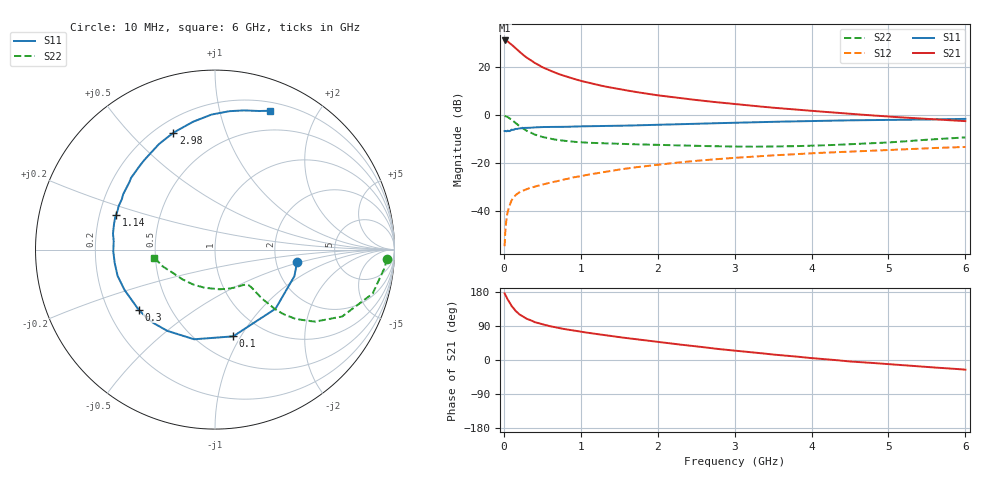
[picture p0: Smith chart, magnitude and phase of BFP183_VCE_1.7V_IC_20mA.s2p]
! Infineon Technologies  Discrete & RF Semiconductors
! BFP183
! VCE = 1.7 V,  IC =  20 mA
! Common Emitter S-Parameters:  Jan 2016
# GHz  S  MA  R  50
!  f  S11  S21  S12  S22
! GHz  MAG  ANG  MAG  ANG  MAG  ANG  MAG  ANG
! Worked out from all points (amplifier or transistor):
!   210 points, 10 MHz to 6 GHz, reference 50 ohm
!   highest |S21| = 31.2 dB at 10 MHz (marker M1)
!   |S21| within 3 dB of that: start of sweep to 144.5 MHz
!   unconditionally stable (mu >= 1): 709.5 MHz to 5.73 GHz
!   at 185 MHz: K = 0.41, MSG = 29.9 dB, |S12| = -32.7 dB
!   at 1.52 GHz: K = 1.18, MAG = 14.2 dB, |S12| = -22.7 dB
!   at 6 GHz: K = 0.95, MSG = 5.4 dB, |S12| = -13.4 dB
!   S11 on the Smith chart (normalised r, x): 10 MHz: 2.62, -0.48; 100 MHz: 0.73, -0.93; 300 MHz: 0.33, -0.31; 1.14 GHz: 0.27, +0.16; 2.98 GHz: 0.27, +0.67; 6 GHz: 0.29, +1.43
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0.01  0.4625 -8.9  36.43 175.8  0.0018 85.4  0.9599 -3.0
0.02  0.4665 -18.5  36.34 171.9  0.0039 88.4  0.9494 -6.3
0.05  0.4714 -44.3  34.85 159.5  0.0095 78.8  0.9117 -15.6
0.1  0.4938 -78.2  29.99 142.8  0.0163 62.3  0.8002 -27.8
0.15  0.513 -103.1  25.35 130.0  0.0209 54.8  0.6862 -35.8
0.2  0.525 -120.4  21.41 120.7  0.024 51.7  0.5924 -40.7
0.24  0.5338 -130.0  18.83 115.4  0.0258 49.3  0.5354 -42.9
0.26  0.5377 -134.2  17.73 112.9  0.0266 48.7  0.5102 -43.7
0.3  0.5414 -141.9  15.84 108.5  0.0283 48.3  0.4661 -44.8
0.4  0.552 -156.0  12.4 100.0  0.0316 48.3  0.3925 -46.0
0.5  0.5622 -165.0  10.06 94.2  0.035 47.5  0.3483 -46.3
0.6  0.5638 -172.5  8.555 89.2  0.0383 49.8  0.3202 -46.0
0.7  0.5668 -179.1  7.327 85.0  0.0416 50.6  0.3004 -45.9
1.02  0.5805 165.7  5.107 74.0  0.0532 53.1  0.2677 -47.3
1.14  0.5837 160.8  4.588 70.5  0.0581 53.1  0.2615 -48.4
1.5  0.5974 148.9  3.489 60.3  0.0722 52.7  0.2489 -53.0
2.02  0.6253 133.0  2.568 47.2  0.0919 49.9  0.2375 -63.0
2.98  0.6906 109.6  1.71 25.0  0.1265 42.1  0.2195 -88.6
3.1  0.6969 107.2  1.639 22.8  0.1303 41.0  0.2182 -92.4
4.1  0.7563 89.9  1.191 3.4  0.1613 32.0  0.2309 -124.9
5.1  0.7947 77.2  0.908 -12.4  0.1884 24.4  0.2734 -153.0
6  0.832 68.4  0.746 -25.4  0.2148 15.8  0.3409 -172.3
